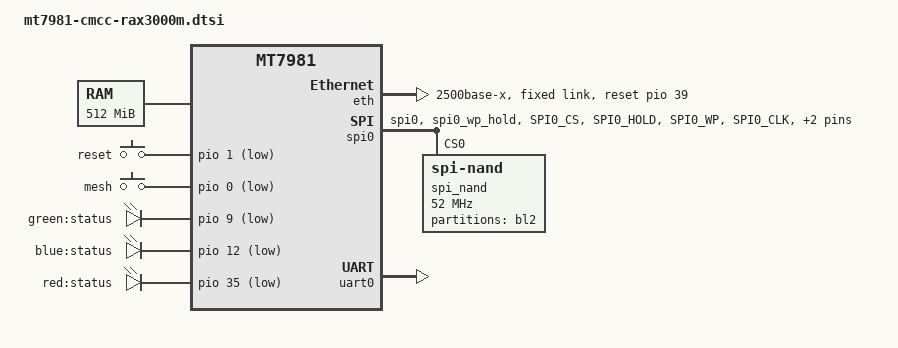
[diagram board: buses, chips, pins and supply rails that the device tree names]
// SPDX-License-Identifier: GPL-2.0-only
/*
 * Copyright (c) 2022 MediaTek Inc.
 * Author: Sam Shih <sam.shih@mediatek.com>
 */

/dts-v1/;
#include "mt7981.dtsi"
#include <dt-bindings/gpio/gpio.h>
#include <dt-bindings/input/linux-event-codes.h>

/ {
	#address-cells = <1>;
	#size-cells = <1>;

	chosen {
		stdout-path = &uart0;
		tick-timer = &timer0;
	};

	memory@40000000 {
		device_type = "memory";
		reg = <0x40000000 0x20000000>;
	};

	keys {
		compatible = "gpio-keys";

		button-reset {
			label = "reset";
			linux,code = <KEY_RESTART>;
			gpios = <&pio 1 GPIO_ACTIVE_LOW>;
		};

		button-mesh {
			label = "mesh";
			linux,code = <BTN_9>;
			linux,input-type = <EV_SW>;
			gpios = <&pio 0 GPIO_ACTIVE_LOW>;
		};
	};

	leds {
		compatible = "gpio-leds";

		led-0 {
			label = "green:status";
			gpios = <&pio 9 GPIO_ACTIVE_LOW>;
		};

		led-1 {
			label = "blue:status";
			gpios = <&pio 12 GPIO_ACTIVE_LOW>;
		};

		led-2 {
			label = "red:status";
			gpios = <&pio 35 GPIO_ACTIVE_LOW>;
		};
	};
};

&eth {
	status = "okay";
	mediatek,gmac-id = <0>;
	phy-mode = "2500base-x";
	mediatek,switch = "auto";
	reset-gpios = <&pio 39 GPIO_ACTIVE_HIGH>;

	fixed-link {
		speed = <2500>;
		full-duplex;
	};
};

&pio {
	spi_flash_pins: spi0-pins-func-1 {
		mux {
			function = "flash";
			groups = "spi0", "spi0_wp_hold";
		};

		conf-pu {
			pins = "SPI0_CS", "SPI0_HOLD", "SPI0_WP";
			drive-strength = <MTK_DRIVE_8mA>;
			bias-pull-up = <MTK_PUPD_SET_R1R0_00>;
		};

		conf-pd {
			pins = "SPI0_CLK", "SPI0_MOSI", "SPI0_MISO";
			drive-strength = <MTK_DRIVE_8mA>;
			bias-pull-down = <MTK_PUPD_SET_R1R0_00>;
		};
	};
};

&spi0 {
	#address-cells = <1>;
	#size-cells = <0>;
	pinctrl-names = "default";
	pinctrl-0 = <&spi_flash_pins>;
	status = "okay";
	must_tx;
	enhance_timing;
	dma_ext;
	ipm_design;
	support_quad;
	tick_dly = <2>;
	sample_sel = <0>;

	spi_nand@0 {
		compatible = "spi-nand";
		reg = <0>;
		spi-max-frequency = <52000000>;

		partitions: partitions {
			compatible = "fixed-partitions";
			#address-cells = <1>;
			#size-cells = <1>;

			partition@0 {
				label = "bl2";
				reg = <0x0 0x100000>;
			};
		};
	};
};

&uart0 {
	mediatek,force-highspeed;
	status = "okay";
};

&watchdog {
	status = "disabled";
};
